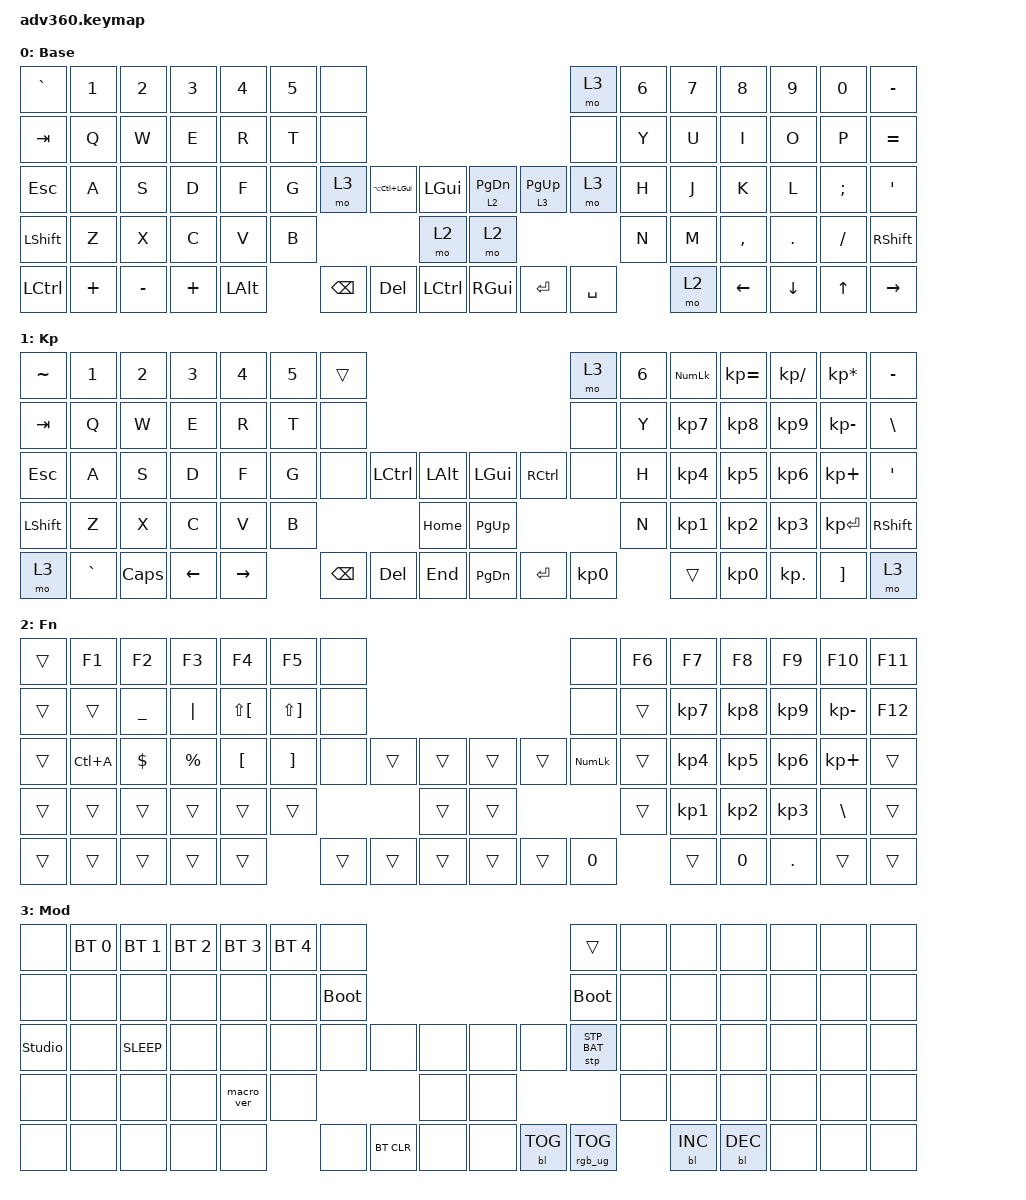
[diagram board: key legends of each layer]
#include <dt-bindings/zmk/stp.h>
#include <behaviors.dtsi>
#include <dt-bindings/zmk/backlight.h>
#include <dt-bindings/zmk/bt.h>
#include <dt-bindings/zmk/keys.h>
#include <dt-bindings/zmk/rgb.h>

/ {
    behaviors {
        #include "macros.dtsi"
      #include "version.dtsi"

        hm: homerow_mods {
            compatible = "zmk,behavior-hold-tap";
            label = "HOMEROW_MODS";
            #binding-cells = <2>;
            tapping-term-ms = <200>;
            quick_tap_ms = <175>;
            flavor = "tap-preferred";
            bindings = <&kp>, <&kp>;
        };
    };

    combos {
        compatible = "zmk,combos";

        Ctrl_Plus {
            bindings = <&kp LC(KP_PLUS)>;
            key-positions = <60 61>;
        };

        Ctrl_Minus {
            bindings = <&kp LC(KP_MINUS)>;
            key-positions = <60 62>;
        };
    };

    macros {
        Ctrl_PLus: Ctrl_PLus {
            compatible = "zmk,behavior-macro";
            #binding-cells = <0>;
            bindings = <&kp PLUS>, <&macro_press>, <&kp LCTRL>;

            label = "CTRL_PLUS";
        };
    };

    keymap {
        compatible = "zmk,keymap";

        default_layer {
            display-name = "Base";
            bindings = <
&kp GRAVE  &kp N1    &kp N2     &kp N3    &kp N4        &kp N5  &none                                                                             &mo 3      &kp N6  &kp N7  &kp N8     &kp N9    &kp N0        &kp MINUS
&kp TAB    &kp Q     &kp W      &kp E     &kp R         &kp T   &none                                                                             &none      &kp Y   &kp U   &kp I      &kp O     &kp P         &kp EQUAL
&kp ESC    &kp A     &kp S      &kp D     &kp F         &kp G   &mo 3     &kp LA(LC(LEFT_GUI))  &kp LEFT_GUI      &lt 2 PAGE_DOWN  &lt 3 PAGE_UP  &mo 3      &kp H   &kp J   &kp K      &kp L     &kp SEMI      &kp SQT
&kp LSHFT  &kp Z     &kp X      &kp C     &kp V         &kp B                                   &mo 2             &mo 2                                      &kp N   &kp M   &kp COMMA  &kp DOT   &kp FSLH      &kp RSHFT
&kp LCTRL  &kp PLUS  &kp MINUS  &kp PLUS  &kp LEFT_ALT          &kp BSPC  &kp DEL               &kp LCTRL         &kp RIGHT_GUI    &kp ENTER      &kp SPACE          &mo 2   &kp LEFT   &kp DOWN  &kp UP_ARROW  &kp RIGHT
            >;
        };

        keypad {
            display-name = "Kp";
            bindings = <
&kp TILDE  &kp N1     &kp N2    &kp N3    &kp N4     &kp N5  &trans                                                   &mo 3      &kp N6  &kp KP_NUM  &kp KP_EQUAL     &kp KP_DIVIDE  &kp KP_MULTIPLY  &kp MINUS
&kp TAB    &kp Q      &kp W     &kp E     &kp R      &kp T   &none                                                    &none      &kp Y   &kp KP_N7   &kp KP_N8        &kp KP_N9      &kp KP_MINUS     &kp BSLH
&kp ESC    &kp A      &kp S     &kp D     &kp F      &kp G   &none     &kp LCTRL  &kp LALT      &kp LGUI   &kp RCTRL  &none      &kp H   &kp KP_N4   &kp KP_N5        &kp KP_N6      &kp KP_PLUS      &kp SQT
&kp LSHFT  &kp Z      &kp X     &kp C     &kp V      &kp B                        &kp HOME      &kp PG_UP                        &kp N   &kp KP_N1   &kp KP_N2        &kp KP_N3      &kp KP_ENTER     &kp RSHFT
&mo 3      &kp GRAVE  &kp CAPS  &kp LEFT  &kp RIGHT          &kp BSPC  &kp DEL    &kp END       &kp PG_DN  &kp ENTER  &kp KP_N0          &trans      &kp KP_NUMBER_0  &kp KP_DOT     &kp RBKT         &mo 3
            >;
        };

        fn-numberpad {
            display-name = "Fn";
            bindings = <
&trans  &kp F1     &kp F2      &kp F3       &kp F4                &kp F5                 &none                                       &none           &kp F6  &kp F7           &kp F8           &kp F9           &kp F10        &kp F11
&trans  &trans     &kp UNDER   &kp PIPE     &kp LS(LEFT_BRACKET)  &kp LS(RIGHT_BRACKET)  &none                                       &none           &trans  &kp KP_NUMBER_7  &kp KP_NUMBER_8  &kp KP_NUMBER_9  &kp KP_MINUS   &kp F12
&trans  &kp LC(A)  &kp DOLLAR  &kp PERCENT  &kp LEFT_BRACKET      &kp RIGHT_BRACKET      &none   &trans  &trans      &trans  &trans  &kp KP_NUMLOCK  &trans  &kp KP_NUMBER_4  &kp KP_NUMBER_5  &kp KP_NUMBER_6  &kp KP_PLUS    &trans
&trans  &trans     &trans      &trans       &trans                &trans                                 &trans      &trans                          &trans  &kp KP_NUMBER_1  &kp KP_NUMBER_2  &kp KP_NUMBER_3  &kp BACKSLASH  &trans
&trans  &trans     &trans      &trans       &trans                                       &trans  &trans  &trans      &trans  &trans  &kp N0                  &trans           &kp N0           &kp DOT          &trans         &trans
            >;
        };

        mod {
            display-name = "Mod";
            bindings = <
&none           &bt BT_SEL 0  &bt BT_SEL 1  &bt BT_SEL 2  &bt BT_SEL 3  &bt BT_SEL 4  &none                                                  &trans           &none  &none       &none       &none  &none  &none
&none           &none         &none         &none         &none         &none         &bootloader                                            &bootloader      &none  &none       &none       &none  &none  &none
&studio_unlock  &none         &kp K_SLEEP   &none         &none         &none         &none        &none       &none      &none  &none       &stp STP_BAT     &none  &none       &none       &none  &none  &none
&none           &none         &none         &none         &macro_ver    &none                                  &none      &none                               &none  &none       &none       &none  &none  &none
&none           &none         &none         &none         &none                       &none        &bt BT_CLR  &none      &none  &bl BL_TOG  &rgb_ug RGB_TOG         &bl BL_INC  &bl BL_DEC  &none  &none  &none
            >;
        };

        extra1 {
            display-name = "Red";
            status = "reserved";
        };

        extra2 {
            display-name = "Purple";
            status = "reserved";
        };
    };
};
